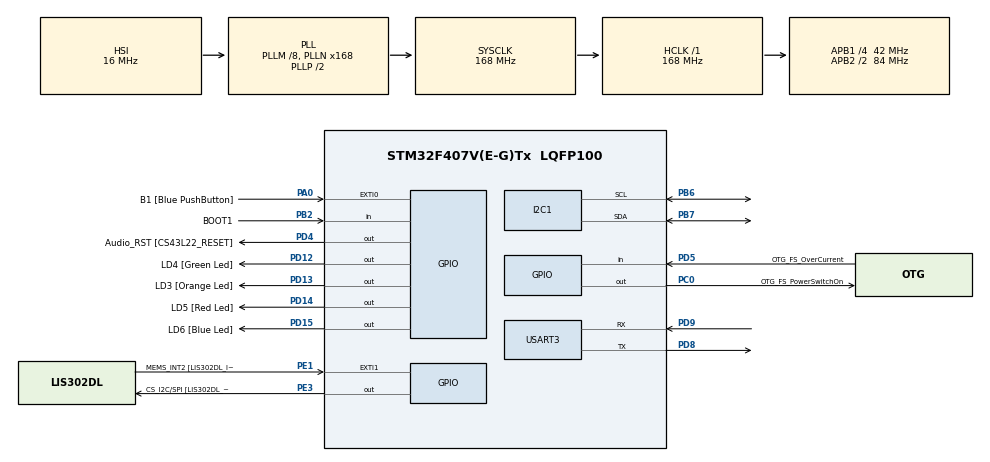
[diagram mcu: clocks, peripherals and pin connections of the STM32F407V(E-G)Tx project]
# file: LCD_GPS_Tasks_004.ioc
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Mcu.Family=STM32F4
Mcu.Name=STM32F407V(E-G)Tx
Mcu.Package=LQFP100
NVIC.PriorityGroup=NVIC_PRIORITYGROUP_4
NVIC.TIM6_DAC_IRQn=true\:0\:0\:false\:false\:true\:false\:true\:true
NVIC.TimeBase=TIM6_DAC_IRQn
NVIC.TimeBaseIP=TIM6
NVIC.USART3_IRQn=true\:0\:0\:false\:false\:true\:true\:true\:true
PA0-WKUP.GPIO_Label=B1 [Blue PushButton]
PA0-WKUP.Signal=GPXTI0
PA10.GPIO_Label=OTG_FS_ID
PA10.GPIO_Mode=GPIO_MODE_AF_PP
PA10.GPIO_PuPd=GPIO_NOPULL
PA10.GPIO_Speed=GPIO_SPEED_FREQ_LOW
PA10.Signal=USB_OTG_FS_ID
PA11.GPIO_Label=OTG_FS_DM
PA11.GPIO_Mode=GPIO_MODE_AF_PP
PA11.GPIO_PuPd=GPIO_NOPULL
PA11.GPIO_Speed=GPIO_SPEED_FREQ_LOW
PA11.Signal=USB_OTG_FS_DM
PA12.GPIO_Label=OTG_FS_DP
PA12.GPIO_Mode=GPIO_MODE_AF_PP
PA12.GPIO_PuPd=GPIO_NOPULL
PA12.GPIO_Speed=GPIO_SPEED_FREQ_LOW
PA12.Signal=USB_OTG_FS_DP
PA13.GPIO_Label=SWDIO
PA13.Signal=SYS_JTMS-SWDIO
PA14.GPIO_Label=SWCLK
PA14.Signal=SYS_JTCK-SWCLK
PA4.GPIO_Label=I2S3_WS [CS43L22_LRCK]
PA4.GPIO_Mode=GPIO_MODE_AF_PP
PA4.GPIO_PuPd=GPIO_NOPULL
PA4.GPIO_Speed=GPIO_SPEED_FREQ_LOW
PA4.Signal=I2S3_WS
PA5.GPIO_Label=SPI1_SCK [LIS302DL_SCL/SPC]
PA5.GPIO_Mode=GPIO_MODE_AF_PP
PA5.GPIO_PuPd=GPIO_NOPULL
PA5.GPIO_Speed=GPIO_SPEED_FREQ_LOW
PA5.Signal=SPI1_SCK
PA6.GPIO_Label=SPI1_MISO [LIS302DL_SDO]
PA6.GPIO_Mode=GPIO_MODE_AF_PP
PA6.GPIO_PuPd=GPIO_NOPULL
PA6.GPIO_Speed=GPIO_SPEED_FREQ_LOW
PA6.Signal=SPI1_MISO
PA7.GPIO_Label=SPI1_MOSI [LIS302DL_SDA/SDI/SDO]
PA7.GPIO_Mode=GPIO_MODE_AF_PP
PA7.GPIO_PuPd=GPIO_NOPULL
PA7.GPIO_Speed=GPIO_SPEED_FREQ_LOW
PA7.Signal=SPI1_MOSI
PA9.GPIO_Label=VBUS_FS
PA9.GPIO_Mode=GPIO_MODE_INPUT
PA9.GPIO_PuPd=GPIO_NOPULL
PA9.Signal=USB_OTG_FS_VBUS
PB10.GPIO_Label=CLK_IN [MP45DT02_CLK]
PB10.GPIO_Mode=GPIO_MODE_AF_PP
PB10.GPIO_PuPd=GPIO_NOPULL
PB10.GPIO_Speed=GPIO_SPEED_FREQ_LOW
PB10.Signal=I2S2_CK
PB2.GPIO_Label=BOOT1
PB2.GPIO_Mode=GPIO_MODE_INPUT
PB2.GPIO_PuPd=GPIO_NOPULL
PB2.Signal=GPIO_Input
PB3.GPIO_Label=SWO
PB3.Signal=SYS_JTDO-SWO
PB6.Mode=I2C
PB6.Signal=I2C1_SCL
PB7.Mode=I2C
PB7.Signal=I2C1_SDA
PC0.GPIO_Label=OTG_FS_PowerSwitchOn
PC0.GPIO_PuPd=GPIO_NOPULL
PC0.GPIO_Speed=GPIO_SPEED_FREQ_LOW
PC0.PinState=GPIO_PIN_SET
PC0.Signal=GPIO_Output
PC10.GPIO_Label=I2S3_SCK [CS43L22_SCLK]
PC10.GPIO_Mode=GPIO_MODE_AF_PP
PC10.GPIO_PuPd=GPIO_NOPULL
PC10.GPIO_Speed=GPIO_SPEED_FREQ_LOW
PC10.Signal=I2S3_CK
PC12.GPIO_Label=I2S3_SD [CS43L22_SDIN]
PC12.GPIO_Mode=GPIO_MODE_AF_PP
PC12.GPIO_PuPd=GPIO_NOPULL
PC12.GPIO_Speed=GPIO_SPEED_FREQ_LOW
PC12.Signal=I2S3_SD
PC14-OSC32_IN.GPIO_Label=PC14-OSC32_IN
PC14-OSC32_IN.Signal=RCC_OSC32_IN
PC15-OSC32_OUT.GPIO_Label=PC15-OSC32_OUT
PC15-OSC32_OUT.Signal=RCC_OSC32_OUT
PC3.GPIO_Label=PDM_OUT [MP45DT02_DOUT]
PC3.GPIO_Mode=GPIO_MODE_AF_PP
PC3.GPIO_PuPd=GPIO_NOPULL
PC3.GPIO_Speed=GPIO_SPEED_FREQ_LOW
PC3.Signal=I2S2_SD
PC7.GPIO_Label=I2S3_MCK [CS43L22_MCLK]
PC7.GPIO_Mode=GPIO_MODE_AF_PP
PC7.GPIO_PuPd=GPIO_NOPULL
PC7.GPIO_Speed=GPIO_SPEED_FREQ_LOW
PC7.Signal=I2S3_MCK
PD12.GPIO_Label=LD4 [Green Led]
PD12.GPIO_PuPd=GPIO_NOPULL
PD12.GPIO_Speed=GPIO_SPEED_FREQ_LOW
PD12.Signal=GPIO_Output
PD13.GPIO_Label=LD3 [Orange Led]
PD13.GPIO_PuPd=GPIO_NOPULL
PD13.GPIO_Speed=GPIO_SPEED_FREQ_LOW
PD13.Signal=GPIO_Output
PD14.GPIO_Label=LD5 [Red Led]
PD14.GPIO_PuPd=GPIO_NOPULL
PD14.GPIO_Speed=GPIO_SPEED_FREQ_LOW
PD14.Signal=GPIO_Output
PD15.GPIO_Label=LD6 [Blue Led]
PD15.GPIO_PuPd=GPIO_NOPULL
PD15.GPIO_Speed=GPIO_SPEED_FREQ_LOW
PD15.Signal=GPIO_Output
PD4.GPIO_Label=Audio_RST [CS43L22_RESET]
PD4.GPIO_PuPd=GPIO_NOPULL
PD4.GPIO_Speed=GPIO_SPEED_FREQ_LOW
PD4.Signal=GPIO_Output
PD5.GPIO_Label=OTG_FS_OverCurrent
PD5.GPIO_Mode=GPIO_MODE_INPUT
PD5.GPIO_PuPd=GPIO_NOPULL
PD5.Signal=GPIO_Input
PD8.Mode=Asynchronous
PD8.Signal=USART3_TX
PD9.Mode=Asynchronous
PD9.Signal=USART3_RX
PE1.GPIO_Label=MEMS_INT2 [LIS302DL_INT2]
PE1.GPIO_ModeDefaultEXTI=GPIO_MODE_EVT_RISING
PE1.GPIO_PuPd=GPIO_NOPULL
PE1.Signal=GPXTI1
PE3.GPIO_Label=CS_I2C/SPI [LIS302DL_CS_I2C/SPI]
PE3.GPIO_PuPd=GPIO_NOPULL
PE3.GPIO_Speed=GPIO_SPEED_FREQ_LOW
PE3.Signal=GPIO_Output
PH0-OSC_IN.GPIO_Label=PH0-OSC_IN
PH0-OSC_IN.Signal=RCC_OSC_IN
PH1-OSC_OUT.GPIO_Label=PH1-OSC_OUT
PH1-OSC_OUT.Signal=RCC_OSC_OUT
ProjectManager.HeapSize=0x200
ProjectManager.StackSize=0x400
ProjectManager.TargetToolchain=STM32CubeIDE
RCC.48MHZClocksFreq_Value=48000000
RCC.AHBFreq_Value=168000000
RCC.APB1CLKDivider=RCC_HCLK_DIV4
RCC.APB1Freq_Value=42000000
RCC.APB1TimFreq_Value=84000000
RCC.APB2CLKDivider=RCC_HCLK_DIV2
RCC.APB2Freq_Value=84000000
RCC.APB2TimFreq_Value=168000000
RCC.CortexFreq_Value=168000000
RCC.HCLKFreq_Value=168000000
RCC.HSE_VALUE=8000000
RCC.HSI_VALUE=16000000
RCC.LSE_VALUE=32768
RCC.PLLM=8
RCC.PLLN=168
RCC.PLLQ=7
RCC.SYSCLKFreq_VALUE=168000000
RCC.SYSCLKSource=RCC_SYSCLKSOURCE_PLLCLK
RCC.VCOOutputFreq_Value=336000000
USART3.VirtualMode=VM_ASYNC
VP_SYS_VS_tim6.Mode=TIM6
board=STM32F407G-DISC1

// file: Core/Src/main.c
/* USER CODE BEGIN Header */
/**
  ******************************************************************************
  * @file           : main.c
  * @brief          : Main program body
  ******************************************************************************
  * @attention
  *
  * <h2><center>&copy; Copyright (c) 2021 STMicroelectronics.
  * All rights reserved.</center></h2>
  *
  * This software component is licensed by ST under BSD 3-Clause license,
  * the "License"; You may not use this file except in compliance with the
  * License. You may obtain a copy of the License at:
  *                        opensource.org/licenses/BSD-3-Clause
  *
  ******************************************************************************
  */
/* USER CODE END Header */

#include <string.h>
#include <stdbool.h>
#include "main.h"

/* USER CODE BEGIN Includes */

#include "FreeRTOS.h"
#include "task.h"
#include "semphr.h"
#include "stream_buffer.h"

#include "STM32F407_I2C_LCD16x02_Driver.h"

#include "gps_data_processing.h"
#include "gps_data_processing_opt.h"
#include "gps_data_processing_opts.h"

/* USER CODE END Includes */

I2C_HandleTypeDef hi2c1;

UART_HandleTypeDef huart3;

/* USER CODE BEGIN PV */

#define DWT_CTRL    (*(volatile uint32_t*)0xE0001000)

/* USER CODE END PV */

void SystemClock_Config(void);
static void MX_GPIO_Init(void);
static void MX_I2C1_Init(void);
static void MX_USART3_UART_Init(void);
/* USER CODE BEGIN PFP */

static void led_green_handler(void* parameters);
static void led_orange_handler(void* parameters);
static void led_red_handler(void* parameters);
static void lcd_task_handler(void* parameters);
static void gps_data_receive_handler(void* parameters);
static void gps_data_process_handler(void* parameters);

extern void SEGGER_UART_init(uint32_t);

static StreamBufferHandle_t gps_stream_buffer;
static QueueHandle_t lcd_queue;

//static void clear_GPS_Buffer(void);

/* USER CODE END PFP */

/* USER CODE BEGIN 0 */
#define GPS_DATA_MAX_LENGTH 256

char gps_raw_data[GPS_DATA_MAX_LENGTH + 1]; // GPS data receiving buffer
volatile uint16_t gps_raw_index = 0; // Current receiving index
uint8_t rx_char; // Receive ONE byte

// GPS data global variable
static gps_data_struct gps_data;

// Semaphore handle
SemaphoreHandle_t xBinarySemaphore;

/* USER CODE END 0 */

int main(void)
{
  /* USER CODE BEGIN 1 */
	TaskHandle_t task1_handle;
	TaskHandle_t task2_handle;
	TaskHandle_t task3_handle;
	TaskHandle_t task4_handle;
	TaskHandle_t task5_handle;
	TaskHandle_t task6_handle;

	BaseType_t status;

  /* USER CODE END 1 */

  /* MCU Configuration--------------------------------------------------------*/

  /* Reset of all peripherals, Initializes the Flash interface and the Systick. */
  HAL_Init();

  /* Configure the system clock */
  SystemClock_Config();

  /* Initialize all configured peripherals */
  MX_GPIO_Init();
  MX_I2C1_Init();
  MX_USART3_UART_Init();

  /* USER CODE BEGIN 2 */
  SEGGER_UART_init(500000);

  //CYCLCNT enable
  DWT_CTRL |= ( 1 << 0);

  SEGGER_SYSVIEW_Conf();

  /* Initialize LCD */
  LCD_Init();

  /* Creating a binary semaphore */
  vSemaphoreCreateBinary(xBinarySemaphore);

  /* Tasks Creation */
  status = xTaskCreate(led_green_handler, "LED_green_task", 200, NULL, 2, &task1_handle);
  configASSERT(status == pdPASS);

  status = xTaskCreate(led_red_handler, "LED_red_task", 200, NULL, 2, &task2_handle);
  configASSERT(status == pdPASS);

  status = xTaskCreate(led_orange_handler, "LED_orange_task", 200, NULL, 2, &task3_handle);
  configASSERT(status == pdPASS);

  status = xTaskCreate(lcd_task_handler, "LCD_task", 256, NULL, 2, &task4_handle);
  configASSERT(status == pdPASS);

  status = xTaskCreate(gps_data_receive_handler, "GPS_receive", 200, NULL, 2, &task5_handle);
  configASSERT(status == pdPASS);

  status = xTaskCreate(gps_data_process_handler, "GPS_data_process", 200, NULL, 2, &task6_handle);
  configASSERT(status == pdPASS);

  gps_stream_buffer = xStreamBufferCreate(GPS_DATA_MAX_LENGTH, 1);
  configASSERT(gps_stream_buffer != NULL);

  //start the freeRTOS scheduler
  vTaskStartScheduler();

  /* USER CODE END 2 */

  /* Infinite loop */
  while (1)
  {

  }
}

void SystemClock_Config(void)
{
  RCC_OscInitTypeDef RCC_OscInitStruct = {0};
  RCC_ClkInitTypeDef RCC_ClkInitStruct = {0};

  /** Configure the main internal regulator output voltage
  */
  __HAL_RCC_PWR_CLK_ENABLE();
  __HAL_PWR_VOLTAGESCALING_CONFIG(PWR_REGULATOR_VOLTAGE_SCALE1);
  /** Initializes the CPU, AHB and APB busses clocks
  */
  RCC_OscInitStruct.OscillatorType = RCC_OSCILLATORTYPE_HSI;
  RCC_OscInitStruct.HSIState = RCC_HSI_ON;
  RCC_OscInitStruct.HSICalibrationValue = RCC_HSICALIBRATION_DEFAULT;
  RCC_OscInitStruct.PLL.PLLState = RCC_PLL_ON;
  RCC_OscInitStruct.PLL.PLLSource = RCC_PLLSOURCE_HSI;
  RCC_OscInitStruct.PLL.PLLM = 8;
  RCC_OscInitStruct.PLL.PLLN = 168;
  RCC_OscInitStruct.PLL.PLLP = RCC_PLLP_DIV2;
  RCC_OscInitStruct.PLL.PLLQ = 7;
  if (HAL_RCC_OscConfig(&RCC_OscInitStruct) != HAL_OK)
  {
    Error_Handler();
  }
  /** Initializes the CPU, AHB and APB busses clocks
  */
  RCC_ClkInitStruct.ClockType = RCC_CLOCKTYPE_HCLK|RCC_CLOCKTYPE_SYSCLK
                              |RCC_CLOCKTYPE_PCLK1|RCC_CLOCKTYPE_PCLK2;
  RCC_ClkInitStruct.SYSCLKSource = RCC_SYSCLKSOURCE_PLLCLK;
  RCC_ClkInitStruct.AHBCLKDivider = RCC_SYSCLK_DIV1;
  RCC_ClkInitStruct.APB1CLKDivider = RCC_HCLK_DIV4;
  RCC_ClkInitStruct.APB2CLKDivider = RCC_HCLK_DIV2;

  if (HAL_RCC_ClockConfig(&RCC_ClkInitStruct, FLASH_LATENCY_5) != HAL_OK)
  {
    Error_Handler();
  }
}

static void MX_I2C1_Init(void)
{

  hi2c1.Instance = I2C1;
  hi2c1.Init.ClockSpeed = 100000;
  hi2c1.Init.DutyCycle = I2C_DUTYCYCLE_2;
  hi2c1.Init.OwnAddress1 = 0;
  hi2c1.Init.AddressingMode = I2C_ADDRESSINGMODE_7BIT;
  hi2c1.Init.DualAddressMode = I2C_DUALADDRESS_DISABLE;
  hi2c1.Init.OwnAddress2 = 0;
  hi2c1.Init.GeneralCallMode = I2C_GENERALCALL_DISABLE;
  hi2c1.Init.NoStretchMode = I2C_NOSTRETCH_DISABLE;
  if (HAL_I2C_Init(&hi2c1) != HAL_OK)
  {
    Error_Handler();
  }

}

static void MX_USART3_UART_Init(void)
{

  huart3.Instance = USART3;
  huart3.Init.BaudRate = 115200;
  huart3.Init.WordLength = UART_WORDLENGTH_8B;
  huart3.Init.StopBits = UART_STOPBITS_1;
  huart3.Init.Parity = UART_PARITY_NONE;
  huart3.Init.Mode = UART_MODE_TX_RX;
  huart3.Init.HwFlowCtl = UART_HWCONTROL_NONE;
  huart3.Init.OverSampling = UART_OVERSAMPLING_16;
  if (HAL_UART_Init(&huart3) != HAL_OK)
  {
    Error_Handler();
  }

}

static void MX_GPIO_Init(void)
{
  GPIO_InitTypeDef GPIO_InitStruct = {0};

  /* GPIO Ports Clock Enable */
  __HAL_RCC_GPIOE_CLK_ENABLE();
  __HAL_RCC_GPIOC_CLK_ENABLE();
  __HAL_RCC_GPIOH_CLK_ENABLE();
  __HAL_RCC_GPIOA_CLK_ENABLE();
  __HAL_RCC_GPIOB_CLK_ENABLE();
  __HAL_RCC_GPIOD_CLK_ENABLE();

  /*Configure GPIO pin Output Level */
  HAL_GPIO_WritePin(CS_I2C_SPI_GPIO_Port, CS_I2C_SPI_Pin, GPIO_PIN_RESET);

  /*Configure GPIO pin Output Level */
  HAL_GPIO_WritePin(OTG_FS_PowerSwitchOn_GPIO_Port, OTG_FS_PowerSwitchOn_Pin, GPIO_PIN_SET);

  /*Configure GPIO pin Output Level */
  HAL_GPIO_WritePin(GPIOD, LD4_Pin|LD3_Pin|LD5_Pin|LD6_Pin
                          |Audio_RST_Pin, GPIO_PIN_RESET);

  /*Configure GPIO pin : CS_I2C_SPI_Pin */
  GPIO_InitStruct.Pin = CS_I2C_SPI_Pin;
  GPIO_InitStruct.Mode = GPIO_MODE_OUTPUT_PP;
  GPIO_InitStruct.Pull = GPIO_NOPULL;
  GPIO_InitStruct.Speed = GPIO_SPEED_FREQ_LOW;
  HAL_GPIO_Init(CS_I2C_SPI_GPIO_Port, &GPIO_InitStruct);

  /*Configure GPIO pin : OTG_FS_PowerSwitchOn_Pin */
  GPIO_InitStruct.Pin = OTG_FS_PowerSwitchOn_Pin;
  GPIO_InitStruct.Mode = GPIO_MODE_OUTPUT_PP;
  GPIO_InitStruct.Pull = GPIO_NOPULL;
  GPIO_InitStruct.Speed = GPIO_SPEED_FREQ_LOW;
  HAL_GPIO_Init(OTG_FS_PowerSwitchOn_GPIO_Port, &GPIO_InitStruct);

  /*Configure GPIO pin : PDM_OUT_Pin */
  GPIO_InitStruct.Pin = PDM_OUT_Pin;
  GPIO_InitStruct.Mode = GPIO_MODE_AF_PP;
  GPIO_InitStruct.Pull = GPIO_NOPULL;
  GPIO_InitStruct.Speed = GPIO_SPEED_FREQ_LOW;
  GPIO_InitStruct.Alternate = GPIO_AF5_SPI2;
  HAL_GPIO_Init(PDM_OUT_GPIO_Port, &GPIO_InitStruct);

  /*Configure GPIO pin : B1_Pin */
  GPIO_InitStruct.Pin = B1_Pin;
  GPIO_InitStruct.Mode = GPIO_MODE_IT_RISING;
  GPIO_InitStruct.Pull = GPIO_NOPULL;
  HAL_GPIO_Init(B1_GPIO_Port, &GPIO_InitStruct);

  /*Configure GPIO pin : I2S3_WS_Pin */
  GPIO_InitStruct.Pin = I2S3_WS_Pin;
  GPIO_InitStruct.Mode = GPIO_MODE_AF_PP;
  GPIO_InitStruct.Pull = GPIO_NOPULL;
  GPIO_InitStruct.Speed = GPIO_SPEED_FREQ_LOW;
  GPIO_InitStruct.Alternate = GPIO_AF6_SPI3;
  HAL_GPIO_Init(I2S3_WS_GPIO_Port, &GPIO_InitStruct);

  /*Configure GPIO pins : SPI1_SCK_Pin SPI1_MISO_Pin SPI1_MOSI_Pin */
  GPIO_InitStruct.Pin = SPI1_SCK_Pin|SPI1_MISO_Pin|SPI1_MOSI_Pin;
  GPIO_InitStruct.Mode = GPIO_MODE_AF_PP;
  GPIO_InitStruct.Pull = GPIO_NOPULL;
  GPIO_InitStruct.Speed = GPIO_SPEED_FREQ_LOW;
  GPIO_InitStruct.Alternate = GPIO_AF5_SPI1;
  HAL_GPIO_Init(GPIOA, &GPIO_InitStruct);

  /*Configure GPIO pin : BOOT1_Pin */
  GPIO_InitStruct.Pin = BOOT1_Pin;
  GPIO_InitStruct.Mode = GPIO_MODE_INPUT;
  GPIO_InitStruct.Pull = GPIO_NOPULL;
  HAL_GPIO_Init(BOOT1_GPIO_Port, &GPIO_InitStruct);

  /*Configure GPIO pin : CLK_IN_Pin */
  GPIO_InitStruct.Pin = CLK_IN_Pin;
  GPIO_InitStruct.Mode = GPIO_MODE_AF_PP;
  GPIO_InitStruct.Pull = GPIO_NOPULL;
  GPIO_InitStruct.Speed = GPIO_SPEED_FREQ_LOW;
  GPIO_InitStruct.Alternate = GPIO_AF5_SPI2;
  HAL_GPIO_Init(CLK_IN_GPIO_Port, &GPIO_InitStruct);

  /*Configure GPIO pins : LD4_Pin LD3_Pin LD5_Pin LD6_Pin
                           Audio_RST_Pin */
  GPIO_InitStruct.Pin = LD4_Pin|LD3_Pin|LD5_Pin|LD6_Pin
                          |Audio_RST_Pin;
  GPIO_InitStruct.Mode = GPIO_MODE_OUTPUT_PP;
  GPIO_InitStruct.Pull = GPIO_NOPULL;
  GPIO_InitStruct.Speed = GPIO_SPEED_FREQ_LOW;
  HAL_GPIO_Init(GPIOD, &GPIO_InitStruct);

  /*Configure GPIO pins : I2S3_MCK_Pin I2S3_SCK_Pin I2S3_SD_Pin */
  GPIO_InitStruct.Pin = I2S3_MCK_Pin|I2S3_SCK_Pin|I2S3_SD_Pin;
  GPIO_InitStruct.Mode = GPIO_MODE_AF_PP;
  GPIO_InitStruct.Pull = GPIO_NOPULL;
  GPIO_InitStruct.Speed = GPIO_SPEED_FREQ_LOW;
  GPIO_InitStruct.Alternate = GPIO_AF6_SPI3;
  HAL_GPIO_Init(GPIOC, &GPIO_InitStruct);

  /*Configure GPIO pin : VBUS_FS_Pin */
  GPIO_InitStruct.Pin = VBUS_FS_Pin;
  GPIO_InitStruct.Mode = GPIO_MODE_INPUT;
  GPIO_InitStruct.Pull = GPIO_NOPULL;
  HAL_GPIO_Init(VBUS_FS_GPIO_Port, &GPIO_InitStruct);

  /*Configure GPIO pins : OTG_FS_ID_Pin OTG_FS_DM_Pin OTG_FS_DP_Pin */
  GPIO_InitStruct.Pin = OTG_FS_ID_Pin|OTG_FS_DM_Pin|OTG_FS_DP_Pin;
  GPIO_InitStruct.Mode = GPIO_MODE_AF_PP;
  GPIO_InitStruct.Pull = GPIO_NOPULL;
  GPIO_InitStruct.Speed = GPIO_SPEED_FREQ_LOW;
  GPIO_InitStruct.Alternate = GPIO_AF10_OTG_FS;
  HAL_GPIO_Init(GPIOA, &GPIO_InitStruct);

  /*Configure GPIO pin : OTG_FS_OverCurrent_Pin */
  GPIO_InitStruct.Pin = OTG_FS_OverCurrent_Pin;
  GPIO_InitStruct.Mode = GPIO_MODE_INPUT;
  GPIO_InitStruct.Pull = GPIO_NOPULL;
  HAL_GPIO_Init(OTG_FS_OverCurrent_GPIO_Port, &GPIO_InitStruct);

  /*Configure GPIO pin : MEMS_INT2_Pin */
  GPIO_InitStruct.Pin = MEMS_INT2_Pin;
  GPIO_InitStruct.Mode = GPIO_MODE_EVT_RISING;
  GPIO_InitStruct.Pull = GPIO_NOPULL;
  HAL_GPIO_Init(MEMS_INT2_GPIO_Port, &GPIO_InitStruct);

}

/* USER CODE BEGIN 4 */

// Green LED
static void led_green_handler(void* parameters)
{
	TickType_t last_wakeup_time;
	last_wakeup_time = xTaskGetTickCount();

	while(1)
	{
		if (gps_data.valid_status == 1) {
		    SEGGER_SYSVIEW_PrintfTarget("Toggling green LED");
		    HAL_GPIO_TogglePin(GPIOD, LED_GREEN_PIN);
		} else {
		    HAL_GPIO_WritePin(GPIOD, LED_GREEN_PIN, GPIO_PIN_RESET); // Green LED off
		}

        vTaskDelayUntil(&last_wakeup_time, pdMS_TO_TICKS(200)); // 400ms
	}
}

// Orange LED
static void led_orange_handler(void* parameters)
{
	TickType_t last_wakeup_time;
	last_wakeup_time = xTaskGetTickCount();

	while(1)
	{
		SEGGER_SYSVIEW_PrintfTarget("Toggling orange LED");
		HAL_GPIO_TogglePin(GPIOD, LED_ORANGE_PIN);

		vTaskDelayUntil(&last_wakeup_time, pdMS_TO_TICKS(600)); // 400ms
	}
}

// Red LED
static void led_red_handler(void* parameters)
{
	TickType_t last_wakeup_time;
	last_wakeup_time = xTaskGetTickCount();

	while(1)
	{
		if (gps_data.valid_status != 1) {
		    SEGGER_SYSVIEW_PrintfTarget("Toggling red LED");
		    HAL_GPIO_TogglePin(GPIOD, LED_RED_PIN);
		} else {
		    HAL_GPIO_WritePin(GPIOD, LED_RED_PIN, GPIO_PIN_RESET); // Red LED off
		}

		vTaskDelayUntil(&last_wakeup_time, pdMS_TO_TICKS(200)); // 400ms
	}
}

#define TEST_MSG 0
// LCD screen
static void lcd_task_handler(void* parameters)
{
    lcd_message msg;

    while (1)
    {
        if (xQueueReceive(lcd_queue, &msg, portMAX_DELAY) == pdTRUE)
        {
            switch (msg.type)
            {
            case MSG_TYPE_GPS:
    		    LCD_Send_String(gps_data.longitude);
    		    LCD_Send_Cmd(LCD_SET_ROW2_COL1);
    		    LCD_Send_String(gps_data.latitude);
            }
        }

        // Clear the gps_stream_buffer after processing the message
        xStreamBufferReset(gps_stream_buffer);
    }

	/*
	TickType_t last_wakeup_time;
	last_wakeup_time = xTaskGetTickCount();

	while(1)
	{
		SEGGER_SYSVIEW_PrintfTarget("LCD screen output.");

		xSemaphoreTake(xBinarySemaphore, portMAX_DELAY);

#if TEST_MSG
		//LCD_Send_String(gps_raw_data);
		LCD_Display_Long_Message(gps_raw_data);

#else
		if (gps_data.valid_status == 1) {
		    LCD_Send_String(gps_data.longitude);
		    LCD_Send_Cmd(LCD_SET_ROW2_COL1);
		    LCD_Send_String(gps_data.latitude);

		} else {
			// GPS data not available
			LCD_Send_String("GPS Data");
			LCD_Send_Cmd(LCD_SET_ROW2_COL1);
			LCD_Send_String("not available.");
		}
#endif

		// Clear the gps_raw_data
		clear_GPS_buffer();

		vTaskDelayUntil(&last_wakeup_time, pdMS_TO_TICKS(1000)); // 1000ms

		xSemaphoreGive(xBinarySemaphore);

		vTaskDelete(NULL);
	}
	*/
}

// GPS data receive
static void gps_data_receive_handler(void* parameters)
{
    char rx_data;
    BaseType_t higher_priority_task_woken = pdFALSE;

    while (uart_is_data_available()) {
    	HAL_UART_Receive_IT(&huart3, (uint8_t *)&rx_data, 1);
        xStreamBufferSendFromISR(gps_stream_buffer, &rx_data, 1, &higher_priority_task_woken);
    }

    portYIELD_FROM_ISR(higher_priority_task_woken);

	/*
	TickType_t last_wakeup_time;
    last_wakeup_time = xTaskGetTickCount();

    while(1)
    {
        SEGGER_SYSVIEW_PrintfTarget("GPS data receive.");

        xSemaphoreTake(xBinarySemaphore, portMAX_DELAY);

        // Enable UART interrupt reception
        HAL_UART_Receive_IT(&huart3, (uint8_t *)&rx_char, 1);

        xSemaphoreGive(xBinarySemaphore);

        vTaskDelayUntil(&last_wakeup_time, pdMS_TO_TICKS(1000)); // 1000ms
    }
    */
}

//GPS data process
static void gps_data_process_handler(void* parameters)
{
    char rx_buffer[GPS_DATA_MAX_LENGTH];
    lcd_message msg;

    while (1) {
        size_t received_length = xStreamBufferReceive(gps_stream_buffer,
                                                      rx_buffer,
                                                      GPS_DATA_MAX_LENGTH,
                                                      portMAX_DELAY);

        gps_data_struct *gps_data_prt = &gps_data;
        if (received_length > 0) {
        	gps_data_extrac(gps_data_prt, rx_buffer);
            msg.type = MSG_TYPE_GPS;
            msg.data = gps_data_prt;
            msg.length = sizeof(gps_data_struct);

        	xQueueSend(lcd_queue, &msg, portMAX_DELAY);
        }
    }

	/*
	TickType_t last_wakeup_time;
	last_wakeup_time = xTaskGetTickCount();

	while(1)
	{
		SEGGER_SYSVIEW_PrintfTarget("GPS data process.");

		// Extraction the GPS data.
		gps_data_struct *gps_data_prt = &gps_data;
		gps_data_extrac(gps_data_prt, gps_raw_data);

		vTaskDelayUntil(&last_wakeup_time, pdMS_TO_TICKS(400)); // 400ms
	}
	*/
}

/* Callback for UART receive interrupt */
void HAL_UART_RxCpltCallback(UART_HandleTypeDef *huart)
{
	if (huart->Instance == USART3) {
		if (gps_raw_index < GPS_DATA_MAX_LENGTH) {
		    gps_raw_data[gps_raw_index++] = rx_char;
		}
	    //gps_raw_data[gps_raw_index] = '\0'; // End with '\0'

        // Receive next byte
		HAL_UART_Receive_IT(&huart3, &rx_char, 1);
    }
}

bool uart_is_data_available(void)
{
    return (__HAL_UART_GET_FLAG(&huart3, UART_FLAG_RXNE) != RESET);
}

uint8_t uart_read_byte(void)
{
    uint8_t data;
    HAL_UART_Receive(&huart3, &data, 1, HAL_MAX_DELAY);
    return data;
}

/* Clear GPS data buffer */
void clear_GPS_buffer(void)
{
    // memset(gps_raw_data, 0, sizeof(gps_raw_data));
    gps_raw_index = 0;
}

/* USER CODE END 4 */

void HAL_TIM_PeriodElapsedCallback(TIM_HandleTypeDef *htim)
{
  if (htim->Instance == TIM6) {
    HAL_IncTick();
  }
}

void Error_Handler(void)
{
  /* USER CODE BEGIN Error_Handler_Debug */
  /* User can add his own implementation to report the HAL error return state */
    while(1)
    {
        // Blink an LED or send a message to a debug console
    }
  /* USER CODE END Error_Handler_Debug */
}

/************************ (C) COPYRIGHT STMicroelectronics *****END OF FILE****/
